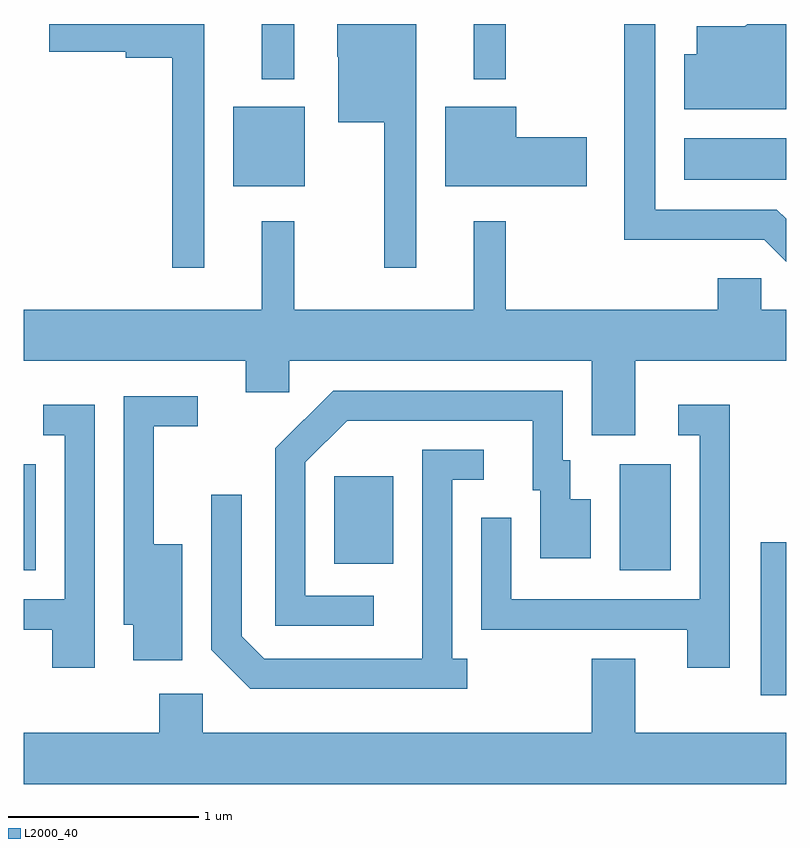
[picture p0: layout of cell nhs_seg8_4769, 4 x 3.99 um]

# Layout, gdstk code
import gdstk
lib = gdstk.Library(unit=1e-6, precision=1e-09)
def R(c, l, rs):  # rectangles x0, y0, x1, y1
    for r in rs: c.add(gdstk.rectangle(r[:2], r[2:], *l))
def P(c, l, *ps):  # polygons
    for p in ps: c.add(gdstk.Polygon(p, *l))
L2000_40 = (2000, 40)

nhs_seg8_4769 = lib.new_cell('nhs_seg8_4769')
R(nhs_seg8_4769, L2000_40, [(331.476,1896.821,331.611,1897.624), (327.611,1897.476,327.674,1898.034), (330.736,1897.476,331.004,1898.034), (329.241,1897.511,329.549,1897.969), (328.711,1899.491,329.084,1899.909), (331.076,1899.526,331.611,1899.744), (328.861,1900.053,329.029,1900.342), (329.971,1900.053,330.139,1900.342)])
P(nhs_seg8_4769, L2000_40, [(329.669,1900.342),(329.256,1900.342),(329.256,1900.17),(329.261,1900.17),(329.261,1899.826),(329.501,1899.826),(329.501,1899.063),(329.669,1899.063)],
  [(328.559,1900.342),(327.746,1900.342),(327.746,1900.196),(328.146,1900.196),(328.146,1900.166),(328.391,1900.166),(328.391,1899.063),(328.559,1899.063)],
  [(331.611,1900.342),(331.407,1900.342),(331.394,1900.329),(331.141,1900.329),(331.141,1900.184),(331.076,1900.184),(331.076,1899.896),(331.611,1899.896)],
  [(331.611,1899.32),(331.562,1899.369),(330.924,1899.369),(330.924,1900.342),(330.761,1900.342),(330.761,1899.211),(331.494,1899.211),(331.611,1899.094)],
  [(330.564,1899.749),(330.194,1899.749),(330.194,1899.909),(329.821,1899.909),(329.821,1899.491),(330.564,1899.491)],
  [(330.819,1898.576),(331.611,1898.576),(331.611,1898.844),(331.479,1898.844),(331.479,1899.009),(331.251,1899.009),(331.251,1898.844),(330.139,1898.844),(330.139,1899.308),(329.971,1899.308),(329.971,1898.844),(329.029,1898.844),(329.029,1899.308),(328.861,1899.308),(328.861,1898.844),(327.611,1898.844),(327.611,1898.576),(328.776,1898.576),(328.776,1898.411),(329.004,1898.411),(329.004,1898.576),(330.591,1898.576),(330.591,1898.186),(330.819,1898.186)],
  [(329.448,1897.344),(329.089,1897.344),(329.089,1898.044),(329.307,1898.261),(330.281,1898.261),(330.281,1897.896),(330.321,1897.896),(330.321,1897.541),(330.584,1897.541),(330.584,1897.849),(330.479,1897.849),(330.479,1898.054),(330.439,1898.054),(330.439,1898.419),(329.234,1898.419),(328.931,1898.117),(328.931,1897.186),(329.448,1897.186)],
  [(328.444,1897.614),(328.294,1897.614),(328.294,1898.231),(328.523,1898.231),(328.523,1898.389),(328.136,1898.389),(328.136,1897.191),(328.186,1897.191),(328.186,1897.006),(328.444,1897.006)],
  [(327.984,1898.344),(327.713,1898.344),(327.713,1898.186),(327.826,1898.186),(327.826,1897.324),(327.611,1897.324),(327.611,1897.166),(327.761,1897.166),(327.761,1896.966),(327.984,1896.966)],
  [(331.314,1898.344),(331.043,1898.344),(331.043,1898.186),(331.156,1898.186),(331.156,1897.324),(330.169,1897.324),(330.169,1897.753),(330.011,1897.753),(330.011,1897.166),(331.091,1897.166),(331.091,1896.966),(331.314,1896.966)],
  [(329.938,1897.014),(329.859,1897.014),(329.859,1897.951),(330.023,1897.951),(330.023,1898.109),(329.701,1898.109),(329.701,1897.014),(328.872,1897.014),(328.754,1897.132),(328.754,1897.873),(328.596,1897.873),(328.596,1897.059),(328.799,1896.856),(329.938,1896.856)],
  [(331.611,1896.624),(330.819,1896.624),(330.819,1897.014),(330.591,1897.014),(330.591,1896.624),(328.549,1896.624),(328.549,1896.829),(328.321,1896.829),(328.321,1896.624),(327.611,1896.624),(327.611,1896.356),(331.611,1896.356)])

lib.write_gds('nhs_seg8_4769.gds')
